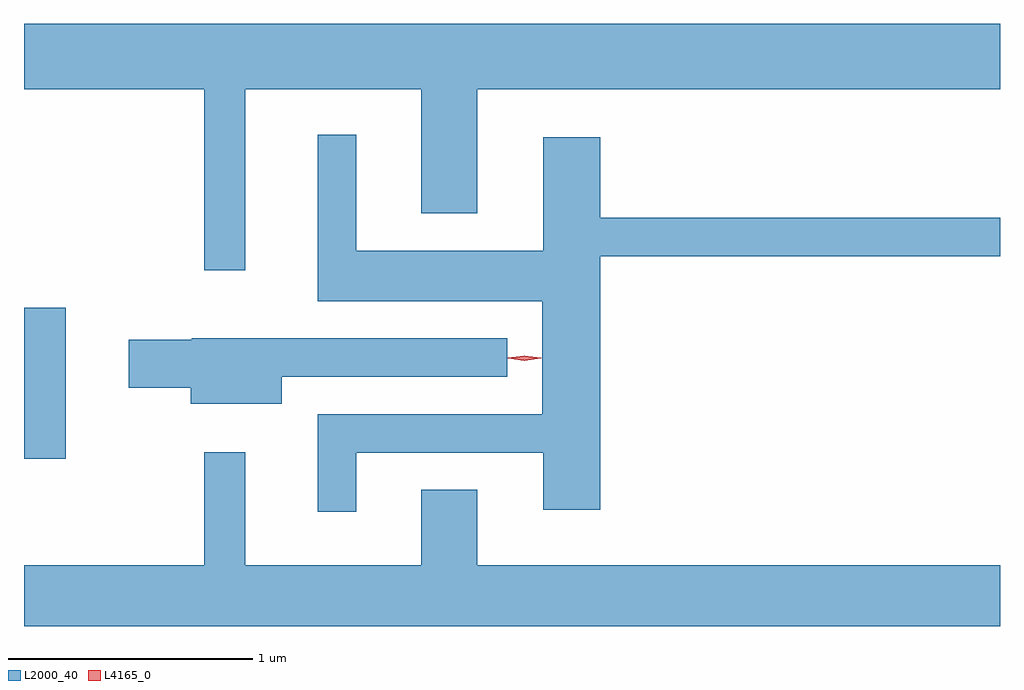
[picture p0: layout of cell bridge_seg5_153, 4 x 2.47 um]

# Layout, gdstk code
import gdstk
lib = gdstk.Library(unit=1e-6, precision=1e-09)
def R(c, l, rs):  # rectangles x0, y0, x1, y1
    for r in rs: c.add(gdstk.rectangle(r[:2], r[2:], *l))
def P(c, l, *ps):  # polygons
    for p in ps: c.add(gdstk.Polygon(p, *l))
L2000_40 = (2000, 40)
L4165_0 = (4165, 0)

bridge_seg5_153 = lib.new_cell('bridge_seg5_153')
R(bridge_seg5_153, L2000_40, [(1122.222,1446.401,1122.394,1447.019)])
P(bridge_seg5_153, L2000_40, [(1123.129,1447.916),(1123.851,1447.916),(1123.851,1447.406),(1124.079,1447.406),(1124.079,1447.916),(1126.222,1447.916),(1126.222,1448.184),(1122.222,1448.184),(1122.222,1447.916),(1122.961,1447.916),(1122.961,1447.173),(1123.129,1447.173)],
  [(1123.584,1446.426),(1124.351,1446.426),(1124.351,1446.191),(1124.584,1446.191),(1124.584,1447.231),(1126.222,1447.231),(1126.222,1447.389),(1124.584,1447.389),(1124.584,1447.719),(1124.351,1447.719),(1124.351,1447.254),(1123.584,1447.254),(1123.584,1447.728),(1123.426,1447.728),(1123.426,1447.046),(1124.346,1447.046),(1124.346,1446.584),(1123.426,1446.584),(1123.426,1446.183),(1123.584,1446.183)],
  [(1123.279,1446.736),(1124.203,1446.736),(1124.203,1446.894),(1122.91,1446.894),(1122.91,1446.889),(1122.651,1446.889),(1122.651,1446.691),(1122.906,1446.691),(1122.906,1446.626),(1123.279,1446.626)],
  [(1126.222,1445.964),(1124.079,1445.964),(1124.079,1446.274),(1123.851,1446.274),(1123.851,1445.964),(1123.129,1445.964),(1123.129,1446.428),(1122.961,1446.428),(1122.961,1445.964),(1122.222,1445.964),(1122.222,1445.714),(1126.222,1445.714)])
P(bridge_seg5_153, L4165_0, [(1124.273,1446.803),(1124.204,1446.813),(1124.204,1446.813),(1124.204,1446.814),(1124.273,1446.823),(1124.342,1446.814),(1124.342,1446.813),(1124.342,1446.813)],
  [(1124.274,1446.802),(1124.207,1446.812),(1124.207,1446.812),(1124.207,1446.813),(1124.274,1446.822),(1124.34,1446.813),(1124.34,1446.812),(1124.34,1446.812)])

lib.write_gds('bridge_seg5_153.gds')
